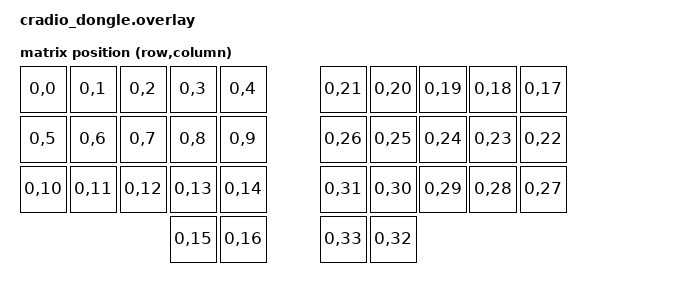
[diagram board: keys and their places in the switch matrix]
#include <dt-bindings/zmk/matrix_transform.h>

/ {
    chosen {
        zmk,kscan = &mock_kscan;
        zmk,physical-layout = &physical_layout0;
        zephyr,display = &oled;
    };

    mock_kscan: mock_kscan_0 {
        compatible = "zmk,kscan-mock";
        columns = <0>;
        rows = <0>;
        events = <0>;
    };
     
    default_transform: keymap_transform_0 {
        compatible = "zmk,matrix-transform";
        columns = <34>;
        rows = <1>;
        map = <
        RC(0,0)  RC(0,1)  RC(0,2)  RC(0,3)  RC(0,4)    RC(0,21) RC(0,20) RC(0,19) RC(0,18) RC(0,17)
        RC(0,5)  RC(0,6)  RC(0,7)  RC(0,8)  RC(0,9)    RC(0,26) RC(0,25) RC(0,24) RC(0,23) RC(0,22)
        RC(0,10) RC(0,11) RC(0,12) RC(0,13) RC(0,14)   RC(0,31) RC(0,30) RC(0,29) RC(0,28) RC(0,27)
                                   RC(0,15) RC(0,16)   RC(0,33) RC(0,32)
        >;
    };

    physical_layout0: physical_layout_0 {
        compatible = "zmk,physical-layout";
        display-name = "Default Layout";
        transform = <&default_transform>;
    };
};

&pinctrl {
    i2c0_default: i2c0_default {
        group1 {
            psels = <NRF_PSEL(TWIM_SDA, 0, 26)>, // GPIO P0.26
            <NRF_PSEL(TWIM_SCL, 0, 27)>;     // GPIO P0.27
        };
    };

    i2c0_sleep: i2c0_sleep {
        group1 {
            psels = <NRF_PSEL(TWIM_SDA, 0, 26)>, // GPIO P0.26
            <NRF_PSEL(TWIM_SCL, 0, 27)>;     // GPIO P0.27
        };
    };
};

&i2c0 {
    compatible = "nordic,nrf-twim";
    status = "okay";
    pinctrl-0 = <&i2c0_default>;
    pinctrl-1 = <&i2c0_sleep>;
    pinctrl-names = "default", "sleep";
    clock-frequency = <I2C_BITRATE_FAST>;
    zephyr,concat-buf-size = <4096>;

    ssd1306: ssd1306@3c {
        compatible = "solomon,ssd1306fb";
        reg = <0x3c>;
        height = <64>;
        width = <128>;
        segment-offset = <0>;
        page-offset = <0>;
        display-offset = <0>;
        multiplex-ratio = <63>;
        prechargep = <0x22>;
        com-invdir;
        segment-remap;
    };
};

